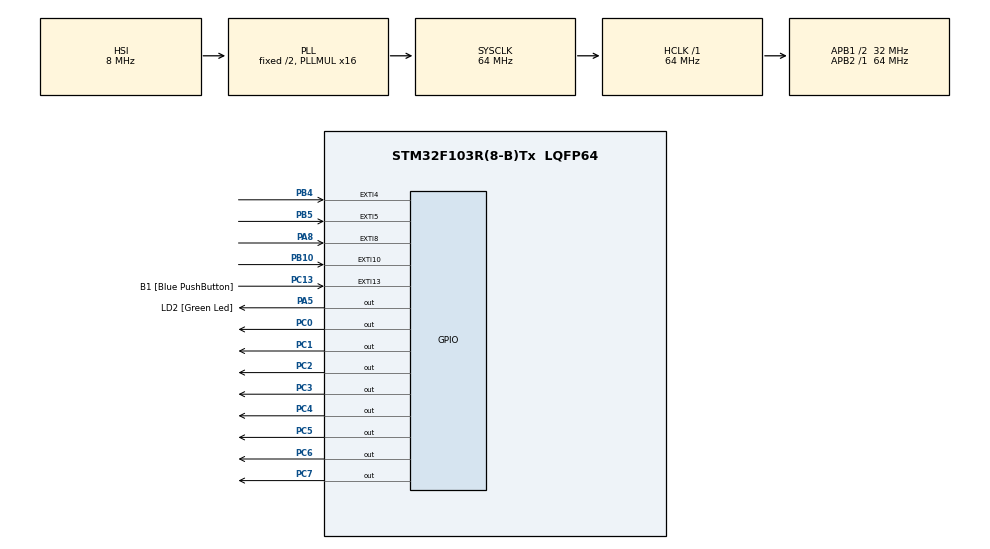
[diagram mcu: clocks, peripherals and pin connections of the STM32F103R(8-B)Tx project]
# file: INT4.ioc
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Mcu.Family=STM32F1
Mcu.Name=STM32F103R(8-B)Tx
Mcu.Package=LQFP64
NVIC.EXTI15_10_IRQn=true\:0\:0\:false\:false\:true\:true\:true\:true
NVIC.EXTI4_IRQn=true\:0\:0\:false\:false\:true\:true\:true\:true
NVIC.EXTI9_5_IRQn=true\:0\:0\:false\:false\:true\:true\:true\:true
NVIC.PriorityGroup=NVIC_PRIORITYGROUP_4
PA5.GPIO_Label=LD2 [Green Led]
PA5.GPIO_ModeDefaultOutputPP=GPIO_MODE_OUTPUT_PP
PA5.GPIO_PuPd=GPIO_NOPULL
PA5.GPIO_Speed=GPIO_SPEED_FREQ_LOW
PA5.Signal=GPIO_Output
PA8.GPIO_ModeDefaultEXTI=GPIO_MODE_IT_FALLING
PA8.Signal=GPXTI8
PB10.GPIO_ModeDefaultEXTI=GPIO_MODE_IT_FALLING
PB10.Signal=GPXTI10
PB4.GPIO_ModeDefaultEXTI=GPIO_MODE_IT_FALLING
PB4.Signal=GPXTI4
PB5.GPIO_ModeDefaultEXTI=GPIO_MODE_IT_FALLING
PB5.Signal=GPXTI5
PC0.GPIO_ModeDefaultOutputPP=GPIO_MODE_OUTPUT_PP
PC0.GPIO_PuPd=GPIO_PULLDOWN
PC0.GPIO_Speed=GPIO_SPEED_FREQ_HIGH
PC0.PinState=GPIO_PIN_SET
PC0.Signal=GPIO_Output
PC1.GPIO_ModeDefaultOutputPP=GPIO_MODE_OUTPUT_PP
PC1.GPIO_PuPd=GPIO_PULLDOWN
PC1.GPIO_Speed=GPIO_SPEED_FREQ_HIGH
PC1.PinState=GPIO_PIN_SET
PC1.Signal=GPIO_Output
PC13-TAMPER-RTC.GPIO_Label=B1 [Blue PushButton]
PC13-TAMPER-RTC.GPIO_PuPd=GPIO_NOPULL
PC13-TAMPER-RTC.Signal=GPXTI13
PC2.GPIO_ModeDefaultOutputPP=GPIO_MODE_OUTPUT_PP
PC2.GPIO_PuPd=GPIO_PULLDOWN
PC2.GPIO_Speed=GPIO_SPEED_FREQ_HIGH
PC2.PinState=GPIO_PIN_SET
PC2.Signal=GPIO_Output
PC3.GPIO_ModeDefaultOutputPP=GPIO_MODE_OUTPUT_PP
PC3.GPIO_PuPd=GPIO_PULLDOWN
PC3.GPIO_Speed=GPIO_SPEED_FREQ_HIGH
PC3.PinState=GPIO_PIN_SET
PC3.Signal=GPIO_Output
PC4.GPIO_ModeDefaultOutputPP=GPIO_MODE_OUTPUT_PP
PC4.GPIO_PuPd=GPIO_PULLDOWN
PC4.GPIO_Speed=GPIO_SPEED_FREQ_HIGH
PC4.PinState=GPIO_PIN_SET
PC4.Signal=GPIO_Output
PC5.GPIO_ModeDefaultOutputPP=GPIO_MODE_OUTPUT_PP
PC5.GPIO_PuPd=GPIO_PULLDOWN
PC5.GPIO_Speed=GPIO_SPEED_FREQ_HIGH
PC5.PinState=GPIO_PIN_SET
PC5.Signal=GPIO_Output
PC6.GPIO_ModeDefaultOutputPP=GPIO_MODE_OUTPUT_PP
PC6.GPIO_PuPd=GPIO_PULLDOWN
PC6.GPIO_Speed=GPIO_SPEED_FREQ_HIGH
PC6.PinState=GPIO_PIN_SET
PC6.Signal=GPIO_Output
PC7.GPIO_ModeDefaultOutputPP=GPIO_MODE_OUTPUT_PP
PC7.GPIO_PuPd=GPIO_PULLDOWN
PC7.GPIO_Speed=GPIO_SPEED_FREQ_HIGH
PC7.PinState=GPIO_PIN_SET
PC7.Signal=GPIO_Output
ProjectManager.HeapSize=0x200
ProjectManager.StackSize=0x400
ProjectManager.TargetToolchain=MDK-ARM V5.32
RCC.AHBFreq_Value=64000000
RCC.APB1CLKDivider=RCC_HCLK_DIV2
RCC.APB1Freq_Value=32000000
RCC.APB1TimFreq_Value=64000000
RCC.APB2Freq_Value=64000000
RCC.APB2TimFreq_Value=64000000
RCC.HCLKFreq_Value=64000000
RCC.PLLMUL=RCC_PLL_MUL16
RCC.RTCClockSelection=RCC_RTCCLKSOURCE_LSE
RCC.SYSCLKFreq_VALUE=64000000
RCC.SYSCLKSource=RCC_SYSCLKSOURCE_PLLCLK
RCC.USBFreq_Value=64000000
VP_SYS_VS_ND.Mode=No_Debug
board=NUCLEO-F103RB

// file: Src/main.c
/* USER CODE BEGIN Header */
/**
 ******************************************************************************
 * @file           : main.c
 * @brief          : Main program body
 ******************************************************************************
 * @attention
 *
 * Copyright (c) 2024 STMicroelectronics.
 * All rights reserved.
 *
 * This software is licensed under terms that can be found in the LICENSE file
 * in the root directory of this software component.
 * If no LICENSE file comes with this software, it is provided AS-IS.
 *
 ******************************************************************************
 */
/* USER CODE END Header */
#include "main.h"

void SystemClock_Config(void);
static void MX_GPIO_Init(void);
/* USER CODE BEGIN PFP */
void HAL_GPIO_EXTI_Callback(uint16_t GPIO_Pin) {
	if (GPIO_Pin == GPIO_PIN_8) {
		HAL_GPIO_TogglePin(GPIOC, GPIO_PIN_0 | GPIO_PIN_1);
	}

	if (GPIO_Pin == GPIO_PIN_4) {
		HAL_GPIO_TogglePin(GPIOC, GPIO_PIN_2 | GPIO_PIN_3);
	}

	if (GPIO_Pin == GPIO_PIN_5) {
		HAL_GPIO_TogglePin(GPIOC, GPIO_PIN_4 | GPIO_PIN_5);
	}

	if (GPIO_Pin == GPIO_PIN_10) {
		HAL_GPIO_TogglePin(GPIOC, GPIO_PIN_6 | GPIO_PIN_7);
	}
}
void LED_OnOff(uint16_t led, int delay) {
	HAL_GPIO_WritePin(GPIOC, led, GPIO_PIN_SET);
	HAL_Delay(delay);
	HAL_GPIO_WritePin(GPIOC, led, GPIO_PIN_RESET);
}
/* USER CODE END PFP */

int main(void)
{

  /* USER CODE BEGIN 1 */
	uint16_t led = GPIO_PIN_0 | GPIO_PIN_1 | GPIO_PIN_2 | GPIO_PIN_3
			| GPIO_PIN_4 | GPIO_PIN_5 | GPIO_PIN_6 | GPIO_PIN_7;
  /* USER CODE END 1 */

  /* MCU Configuration--------------------------------------------------------*/

  /* Reset of all peripherals, Initializes the Flash interface and the Systick. */
  HAL_Init();

  /* Configure the system clock */
  SystemClock_Config();

  /* Initialize all configured peripherals */
  MX_GPIO_Init(); // GPIO_MODE_IT_RISING_FALLING으로 내가 설정해서 누르면 켜지고 떼면 꺼지는 것으로 바꿈, 누를 때, 땔 때 인터럽트가 두 번 걸리는 거임
  /* USER CODE BEGIN 2 */
  LED_OnOff(led, 500);
  /* USER CODE END 2 */

  /* Infinite loop */
	while (1) {

	}
}

void SystemClock_Config(void)
{
  RCC_OscInitTypeDef RCC_OscInitStruct = {0};
  RCC_ClkInitTypeDef RCC_ClkInitStruct = {0};

  /** Initializes the RCC Oscillators according to the specified parameters
  * in the RCC_OscInitTypeDef structure.
  */
  RCC_OscInitStruct.OscillatorType = RCC_OSCILLATORTYPE_HSI;
  RCC_OscInitStruct.HSIState = RCC_HSI_ON;
  RCC_OscInitStruct.HSICalibrationValue = RCC_HSICALIBRATION_DEFAULT;
  RCC_OscInitStruct.PLL.PLLState = RCC_PLL_ON;
  RCC_OscInitStruct.PLL.PLLSource = RCC_PLLSOURCE_HSI_DIV2;
  RCC_OscInitStruct.PLL.PLLMUL = RCC_PLL_MUL16;
  if (HAL_RCC_OscConfig(&RCC_OscInitStruct) != HAL_OK)
  {
    Error_Handler();
  }

  /** Initializes the CPU, AHB and APB buses clocks
  */
  RCC_ClkInitStruct.ClockType = RCC_CLOCKTYPE_HCLK|RCC_CLOCKTYPE_SYSCLK
                              |RCC_CLOCKTYPE_PCLK1|RCC_CLOCKTYPE_PCLK2;
  RCC_ClkInitStruct.SYSCLKSource = RCC_SYSCLKSOURCE_PLLCLK;
  RCC_ClkInitStruct.AHBCLKDivider = RCC_SYSCLK_DIV1;
  RCC_ClkInitStruct.APB1CLKDivider = RCC_HCLK_DIV2;
  RCC_ClkInitStruct.APB2CLKDivider = RCC_HCLK_DIV1;

  if (HAL_RCC_ClockConfig(&RCC_ClkInitStruct, FLASH_LATENCY_2) != HAL_OK)
  {
    Error_Handler();
  }
}

static void MX_GPIO_Init(void)
{
  GPIO_InitTypeDef GPIO_InitStruct = {0};

  /* GPIO Ports Clock Enable */
  __HAL_RCC_GPIOC_CLK_ENABLE();
  __HAL_RCC_GPIOA_CLK_ENABLE();
  __HAL_RCC_GPIOB_CLK_ENABLE();

  /*Configure GPIO pin Output Level */
  HAL_GPIO_WritePin(GPIOC, GPIO_PIN_0|GPIO_PIN_1|GPIO_PIN_2|GPIO_PIN_3
                          |GPIO_PIN_4|GPIO_PIN_5|GPIO_PIN_6|GPIO_PIN_7, GPIO_PIN_SET);

  /*Configure GPIO pin Output Level */
  HAL_GPIO_WritePin(LD2_GPIO_Port, LD2_Pin, GPIO_PIN_RESET);

  /*Configure GPIO pin : B1_Pin */
  GPIO_InitStruct.Pin = B1_Pin;
  GPIO_InitStruct.Mode = GPIO_MODE_IT_RISING;
  GPIO_InitStruct.Pull = GPIO_NOPULL;
  HAL_GPIO_Init(B1_GPIO_Port, &GPIO_InitStruct);

  /*Configure GPIO pins : PC0 PC1 PC2 PC3
                           PC4 PC5 PC6 PC7 */
  GPIO_InitStruct.Pin = GPIO_PIN_0|GPIO_PIN_1|GPIO_PIN_2|GPIO_PIN_3
                          |GPIO_PIN_4|GPIO_PIN_5|GPIO_PIN_6|GPIO_PIN_7;
  GPIO_InitStruct.Mode = GPIO_MODE_OUTPUT_PP;
  GPIO_InitStruct.Pull = GPIO_PULLDOWN;
  GPIO_InitStruct.Speed = GPIO_SPEED_FREQ_HIGH;
  HAL_GPIO_Init(GPIOC, &GPIO_InitStruct);

  /*Configure GPIO pin : LD2_Pin */
  GPIO_InitStruct.Pin = LD2_Pin;
  GPIO_InitStruct.Mode = GPIO_MODE_OUTPUT_PP;
  GPIO_InitStruct.Pull = GPIO_NOPULL;
  GPIO_InitStruct.Speed = GPIO_SPEED_FREQ_LOW;
  HAL_GPIO_Init(LD2_GPIO_Port, &GPIO_InitStruct);

  /*Configure GPIO pins : PB10 PB4 PB5 */
  GPIO_InitStruct.Pin = GPIO_PIN_10|GPIO_PIN_4|GPIO_PIN_5;
  GPIO_InitStruct.Mode = GPIO_MODE_IT_RISING_FALLING ;
  GPIO_InitStruct.Pull = GPIO_NOPULL;
  HAL_GPIO_Init(GPIOB, &GPIO_InitStruct);

  /*Configure GPIO pin : PA8 */
  GPIO_InitStruct.Pin = GPIO_PIN_8;
  GPIO_InitStruct.Mode = GPIO_MODE_IT_RISING_FALLING ;
  GPIO_InitStruct.Pull = GPIO_NOPULL;
  HAL_GPIO_Init(GPIOA, &GPIO_InitStruct);

  /* EXTI interrupt init*/
  HAL_NVIC_SetPriority(EXTI4_IRQn, 0, 0);
  HAL_NVIC_EnableIRQ(EXTI4_IRQn);

  HAL_NVIC_SetPriority(EXTI9_5_IRQn, 0, 0);
  HAL_NVIC_EnableIRQ(EXTI9_5_IRQn);

  HAL_NVIC_SetPriority(EXTI15_10_IRQn, 0, 0);
  HAL_NVIC_EnableIRQ(EXTI15_10_IRQn);

}

void Error_Handler(void)
{
	__disable_irq();
	while (1) {
	}
}
